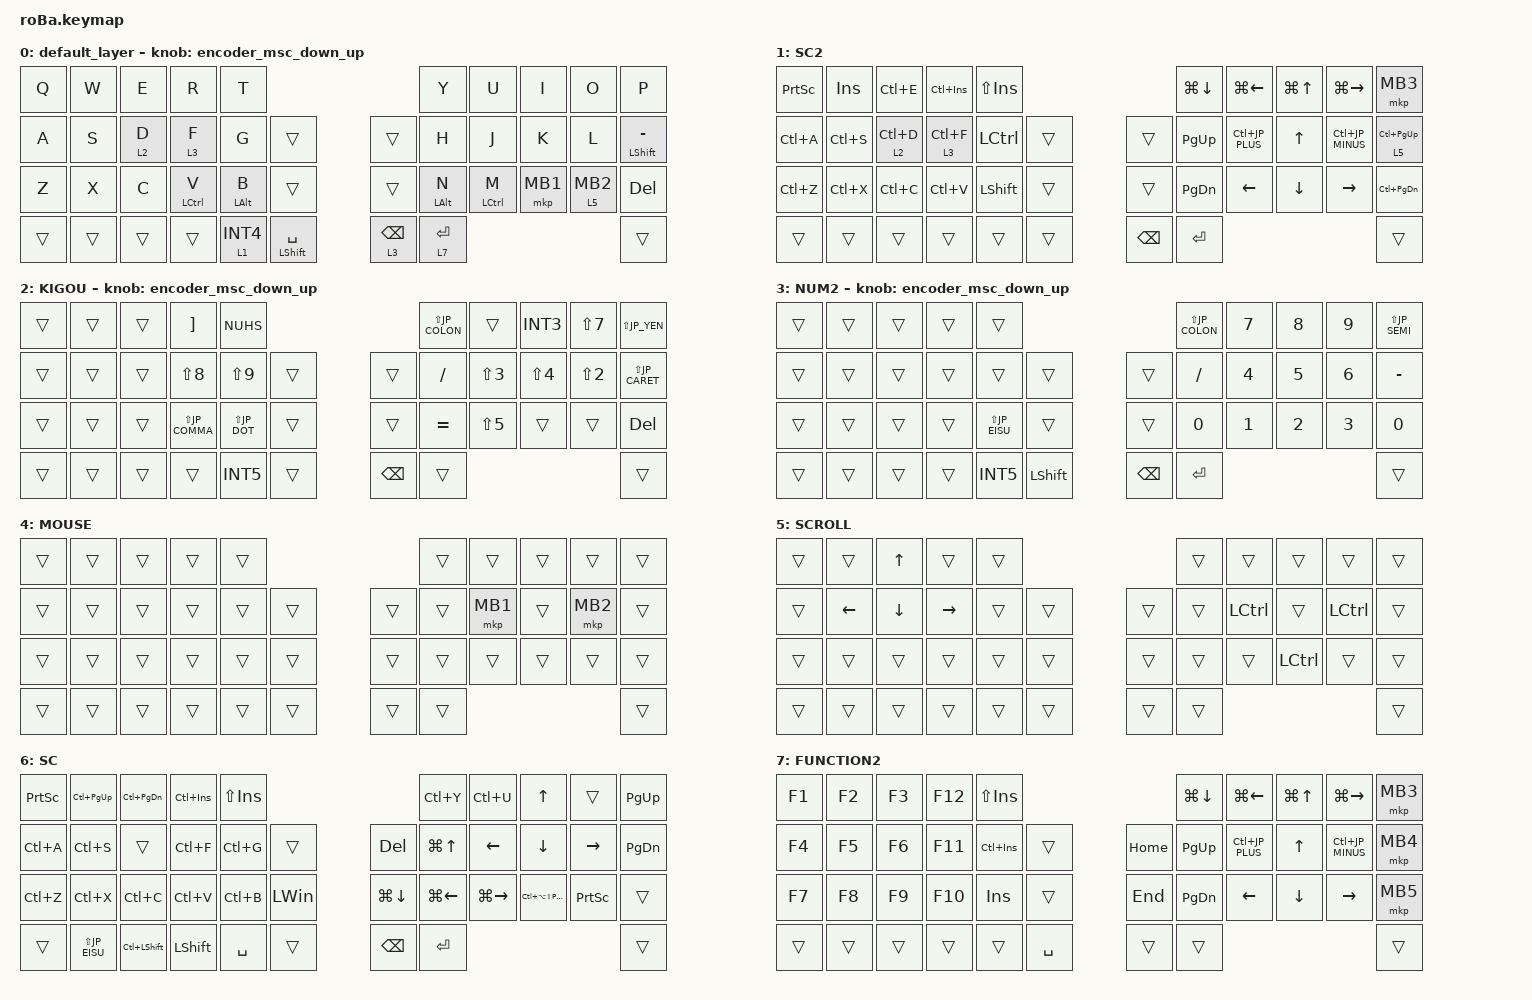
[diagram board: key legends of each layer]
#include <input/processors.dtsi>
#include <behaviors.dtsi>
#include <dt-bindings/zmk/keys.h>
#include <dt-bindings/zmk/pointing.h>

// スクロール量定義

#define ZMK_POINTING_DEFAULT_SCRL_VAL 100

// OS設定を日本語キーボードのまま使用するための変換定義

#define JP_ZKHK  GRAVE        // Zenkaku ↔ Hankaku ↔ Kanji (半角 ↔ 全角 ↔ 漢字)
#define JP_MINUS MINUS        // -
#define JP_CARET EQUAL        // ^
#define JP_YEN   INT3         // ¥
#define JP_AT    LBKT         // @
#define JP_LBKT  RBKT         // [
#define JP_EISU  CAPS         // Eisū (英数)
#define JP_SEMI  SEMI         // ;
#define JP_COLON SQT          // :
#define JP_RBKT  NUHS         // ]
#define JP_COMMA COMMA        // ,
#define JP_DOT   DOT          // .
#define JP_SLASH SLASH        // /
#define JP_BSLH  INT1         // (backslash)
#define JP_MHEN  INT5         // Muhenkan (無変換)
#define JP_HENK  INT4         // Henkan (変換)
#define JP_KANA  INT2         // Katakana ↔ Hiragana ↔ Rōmaji (カタカナ ↔ ひらがな ↔ ローマ字)
#define JP_EXCL  LS(N1)       // !
#define JP_DQT   LS(N2)       // "
#define JP_HASH  LS(N3)       // #
#define JP_DLLR  LS(N4)       // $
#define JP_PRCNT LS(N5)       // %
#define JP_AMPS  LS(N6)       // &
#define JP_SQT   LS(N7)       // '
#define JP_LPAR  LS(N8)       // (
#define JP_RPAR  LS(N9)       // )
#define JP_EQUAL LS(JP_MINUS) // =
#define JP_TILDE LS(JP_CARET) // ~
#define JP_PIPE  LS(JP_YEN)   // |
#define JP_GRAVE LS(JP_AT)    // `
#define JP_LBRC  LS(JP_LBKT)  // {
#define JP_CAPS  LS(JP_EISU)  // Caps Lock
#define JP_PLUS  LS(JP_SEMI)  // +
#define JP_ASTRK LS(JP_COLON) // *
#define JP_RBRC  LS(JP_RBKT)  // }
#define JP_LT    LS(JP_COMMA) // <
#define JP_RT    LS(JP_DOT)   // >
#define JP_QMARK LS(JP_SLASH) // ?
#define JP_UNDER LS(JP_BSLH)  // _

&mt {
    flavor = "balanced";
    quick-tap-ms = <0>;
};

&lt { hold-while-undecided; };

//AML誤爆防止・復帰除外キー設定
//&zip_temp_layer {
//    require-prior-idle-ms = <100>;
//    excluded-positions = <
// 18 // J
// 19  K
// 20 // L
// 21 // 
// 25 // V
//  28 //
//  29 //
//  30 //
//  37 // 左下左
//  38 // 左下中
//  39 // 左下右
//    >;
//};
//トラックボール操作時AML動作定義
//&trackball_listener { input-processors = <&zip_temp_layer 4 30080>; };
//マウスクリック操作時AML動作定義
//&mkp_input_listener { input-processors = <&zip_temp_layer 4 500>; };

&trackball {
    //  automouse-layer = <4>;

    scroll-layers = <5>;

    // arrows {
    //     layers = <3>;
    //     bindings =
    //         <&kp RIGHT_ARROW>,
    //         <&kp LEFT_ARROW>,
    //         <&kp UP_ARROW>,
    //         <&kp DOWN_ARROW>;
    //     tick = <10>;
    //     wait-ms = <5>;
    //     tap-ms = <5>;
    // };
};

/ {
    combos {
        compatible = "zmk,combos";

        tab {
            bindings = <&kp TAB>;
            key-positions = <41 30>;
        };

        F7_ {
            bindings = <&kp F7>;
            key-positions = <38 22>;
            timeout-ms = <30>;
        };

        F8_ {
            bindings = <&kp F8>;
            key-positions = <38 23>;
            timeout-ms = <30>;
        };

        F9_ {
            bindings = <&kp F9>;
            key-positions = <38 24>;
            timeout-ms = <30>;
        };

        F10_ {
            bindings = <&kp F10>;
            key-positions = <38 25>;
            timeout-ms = <30>;
        };

        F6_ {
            bindings = <&kp F6>;
            key-positions = <38 12>;
        };

        F5_ {
            bindings = <&kp F5>;
            key-positions = <38 11>;
        };

        F4_ {
            bindings = <&kp F4>;
            key-positions = <38 10>;
        };

        F3_ {
            bindings = <&kp F3>;
            key-positions = <38 2>;
        };

        F2_ {
            bindings = <&kp F2>;
            key-positions = <38 1>;
        };

        F1_ {
            bindings = <&kp F1>;
            key-positions = <38 0>;
        };

        F11_ {
            bindings = <&kp F11>;
            key-positions = <38 13>;
        };

        F12_ {
            bindings = <&kp F12>;
            key-positions = <38 3>;
        };

        EXCL_ {
            bindings = <&kp JP_EXCL>;
            key-positions = <3 2>;
        };

        QMARK_ {
            bindings = <&kp JP_QMARK>;
            key-positions = <7 6>;
        };

        AT_ {
            bindings = <&kp JP_AT>;
            key-positions = <18 31>;
        };

        COLON_ {
            bindings = <&kp JP_COLON>;
            key-positions = <25 26>;
        };

        SEMI_ {
            bindings = <&kp JP_SEMI>;
            key-positions = <30 29>;
        };

        ESC_ {
            bindings = <&kp ESCAPE>;
            key-positions = <0 1>;
        };

        UNDERBAR_ {
            bindings = <&kp JP_UNDER>;
            key-positions = <20 21>;
        };

        DEL_ {
            bindings = <&kp DELETE>;
            key-positions = <8 9>;
        };

        MB3_ {
            bindings = <&mkp MB3>;
            key-positions = <32 30>;
        };

        AND_ {
            bindings = <&kp JP_AMPS>;
            key-positions = <25 12>;
        };

        MUHENKAN {
            bindings = <&kp JP_MHEN>;
            key-positions = <13 12>;
        };

        COMMA_ {
            bindings = <&kp JP_COMMA>;
            key-positions = <25 24>;
        };

        DOT_ {
            bindings = <&kp JP_DOT>;
            key-positions = <30 31>;
        };

        EQ_ {
            bindings = <&kp JP_EQUAL>;
            key-positions = <30 19>;
        };

        WCLICK_ {
            bindings = <&WCLICK_>;
            key-positions = <31 32>;
        };

        win_2 {
            bindings = <&kp LEFT_GUI>;
            key-positions = <31 41>;
        };

        MB2_2 {
            bindings = <&mkp MB2>;
            key-positions = <32 33>;
        };

        INS_ {
            bindings = <&kp INSERT>;
            key-positions = <3 4>;
        };

        CAPSLOCK_ {
            bindings = <&kp LS(JP_EISU)>;
            key-positions = <24 13>;
        };
    };

    macros {
        to_layer_0: to_layer_0 {
            compatible = "zmk,behavior-macro-one-param";
            #binding-cells = <1>;
            bindings = <&to 0 &macro_param_1to1 &kp MACRO_PLACEHOLDER>;
            label = "TO_LAYER_0";
        };

        kakko1: kakko1 {
            compatible = "zmk,behavior-macro";
            #binding-cells = <0>;
            bindings = <&kp JP_LPAR &kp JP_RPAR &kp LEFT>;
            label = "KAKKO1";
        };

        kakko2: kakko2 {
            compatible = "zmk,behavior-macro";
            #binding-cells = <0>;
            bindings = <&kp JP_LBKT &kp JP_RBKT &kp LEFT_ARROW>;
            label = "KAKKO2";
        };

        kakko3: kakko3 {
            compatible = "zmk,behavior-macro";
            #binding-cells = <0>;
            bindings = <&kp JP_LT &kp JP_RT &kp LEFT_ARROW>;
            label = "KAKKO3";
        };

        kakko11: kakko11 {
            compatible = "zmk,behavior-macro";
            #binding-cells = <0>;
            bindings = <&kp JP_EQUAL &kp JP_LPAR &kp JP_RPAR &kp LEFT &kp LEFT>;
            label = "KAKKO11";
        };

        WCLICK_: WCLICK_ {
            compatible = "zmk,behavior-macro";
            #binding-cells = <0>;
            bindings = <&mkp MB1 &mkp MB1>;
            label = "WCLICK_";
        };

        MHEM_NUM: MHEM_NUM {
            compatible = "zmk,behavior-macro";
            #binding-cells = <0>;
            bindings = <&kp LG(INT_MUHENKAN) &mo 3>;
            label = "MHEM_NUM";
        };

        HEMKAN_NUM_: HEMKAN_NUM_ {
            compatible = "zmk,behavior-macro";
            #binding-cells = <0>;
            bindings = <&kp LG(INT_HENKAN) &mo 3>;
            label = "HEMKAN_NUM_";
        };

        MHEN_KIGOU_: MHEN_KIGOU {
            compatible = "zmk,behavior-macro";
            #binding-cells = <0>;
            bindings = <&kp LG(INT_MUHENKAN) &mo 2>;
            label = "MHEN_KIGOU";
        };

        HENKAN_KIGOU_: HENKAN_KIGOU_ {
            compatible = "zmk,behavior-macro";
            #binding-cells = <0>;
            bindings = <&kp LG(INT_HENKAN) &mo 2>;
            label = "HENKAN_KIGOU_";
        };
    };

    behaviors {
        lt_to_layer_0: lt_to_layer_0 {
            compatible = "zmk,behavior-hold-tap";
            label = "LAYER_TAP_TO_0";
            bindings = <&mo>, <&to_layer_0>;

            #binding-cells = <2>;
            tapping-term-ms = <200>;
        };

        encoder_msc_down_up: encoder_msc_down_up {
            compatible = "zmk,behavior-sensor-rotate";
            label = "ENCODER_MSC_DOWN_UP";
            #sensor-binding-cells = <0>;
            bindings = <&msc SCRL_DOWN>, <&msc SCRL_UP>;

            tap-ms = <20>;
        };

        TAPDANCE1: TAPDANCE1 {
            compatible = "zmk,behavior-tap-dance";
            label = "TAPDANCE1";
            #binding-cells = <0>;
            bindings = <&lt 1 JP_HENK>, <&mt LEFT_SHIFT JP_MHEN>;
        };

        mkpmo: mkpmo {
            compatible = "zmk,behavior-hold-tap";
            label = "MKPMO";
            bindings = <&mo>, <&mkp>;

            #binding-cells = <2>;
            tapping-term-ms = <200>;
            hold-while-undecided;
        };
    };

    keymap {
        compatible = "zmk,keymap";

        default_layer {
            bindings = <
&kp Q   &kp W   &kp E    &kp R        &kp T                                                      &kp Y           &kp U             &kp I     &kp O         &kp P
&kp A   &kp S   &lt 2 D  &lt 3 F      &kp G           &trans                    &trans           &kp H           &kp J             &kp K     &kp L         &mt LEFT_SHIFT JP_MINUS
&kp Z   &kp X   &kp C    &mt LCTRL V  &mt LEFT_ALT B  &trans                    &trans           &mt LEFT_ALT N  &mt LCTRL M  &mkp MB1  &mkpmo 5 MB2       &kp DELETE
&trans  &trans  &trans   &trans       &lt 1 JP_HENK   &mt LEFT_SHIFT SPACE      &lt 3 BACKSPACE  &lt 7 ENTER                                          &trans
            >;

            sensor-bindings = <&encoder_msc_down_up>;
        };

        SC2 {
            bindings = <
&kp PRINTSCREEN  &kp INSERT  &kp LC(E)    &kp LC(INSERT)  &kp LS(INSERT)                             &kp LG(DOWN_ARROW)  &kp LG(LEFT_ARROW)  &kp LG(UP_ARROW)  &kp LG(RIGHT_ARROW)  &mkp MB3
&kp LC(A)        &kp LC(S)   &lt 2 LC(D)  &lt 3 LC(F)     &kp LCTRL       &trans      &trans         &kp PAGE_UP         &kp LC(JP_PLUS)     &kp UP_ARROW      &kp LC(JP_MINUS)     &lt 5 LC(PAGE_UP)
&kp LC(Z)        &kp LC(X)   &kp LC(C)    &kp LC(V)       &kp LSHIFT      &trans      &trans         &kp PAGE_DOWN       &kp LEFT_ARROW      &kp DOWN_ARROW    &kp RIGHT_ARROW      &kp LC(PAGE_DOWN)
&trans           &trans      &trans       &trans          &trans          &trans      &kp BACKSPACE  &kp ENTER                                                                      &trans
            >;
        };

        KIGOU {
            bindings = <
&trans  &trans  &trans  &kp JP_LBKT  &kp JP_RBKT                             &kp JP_ASTRK  &trans        &kp JP_YEN   &kp JP_SQT  &kp JP_PIPE
&trans  &trans  &trans  &kp JP_LPAR  &kp JP_RPAR  &trans      &trans         &kp JP_SLASH  &kp JP_HASH   &kp JP_DLLR  &kp JP_DQT  &kp JP_TILDE
&trans  &trans  &trans  &kp JP_LT    &kp JP_RT    &trans      &trans         &kp JP_CARET  &kp JP_PRCNT  &trans       &trans      &kp DELETE
&trans  &trans  &trans  &trans       &kp JP_MHEN  &trans      &kp BACKSPACE  &trans                                               &trans
            >;

            sensor-bindings = <&encoder_msc_down_up>;
        };

        NUM2 {
            bindings = <
&trans  &trans  &trans  &trans  &trans                                              &kp JP_ASTRK  &kp N7  &kp N8  &kp N9  &kp JP_PLUS
&trans  &trans  &trans  &trans  &trans           &trans              &trans         &kp JP_SLASH  &kp N4  &kp N5  &kp N6  &kp JP_MINUS
&trans  &trans  &trans  &trans  &kp LS(JP_EISU)  &trans              &trans         &kp N0        &kp N1  &kp N2  &kp N3  &kp N0
&trans  &trans  &trans  &trans  &kp JP_MHEN      &kp LEFT_SHIFT      &kp BACKSPACE  &kp ENTER                             &trans
            >;

            sensor-bindings = <&encoder_msc_down_up>;
        };

        MOUSE {
            bindings = <
&trans  &trans  &trans  &trans  &trans                      &trans  &trans    &trans  &trans    &trans
&trans  &trans  &trans  &trans  &trans  &trans      &trans  &trans  &mkp MB1  &trans  &mkp MB2  &trans
&trans  &trans  &trans  &trans  &trans  &trans      &trans  &trans  &trans    &trans  &trans    &trans
&trans  &trans  &trans  &trans  &trans  &trans      &trans  &trans                              &trans
            >;
        };

        SCROLL {
            bindings = <
&trans  &trans          &kp UP_ARROW    &trans           &trans                      &trans  &trans            &trans            &trans            &trans
&trans  &kp LEFT_ARROW  &kp DOWN_ARROW  &kp RIGHT_ARROW  &trans  &trans      &trans  &trans  &kp LEFT_CONTROL  &trans            &kp LEFT_CONTROL  &trans
&trans  &trans          &trans          &trans           &trans  &trans      &trans  &trans  &trans            &kp LEFT_CONTROL  &trans            &trans
&trans  &trans          &trans          &trans           &trans  &trans      &trans  &trans                                                        &trans
            >;
        };

        SC {
            bindings = <
&kp PRINTSCREEN  &kp LC(PAGE_UP)  &kp LC(PAGE_DOWN)  &kp LC(INSERT)  &kp LS(INSERT)                                        &kp LC(Y)           &kp LC(U)            &kp UP_ARROW                 &trans           &kp PAGE_UP
&kp LC(A)        &kp LC(S)        &trans             &kp LC(F)       &kp LC(G)       &trans            &kp DELETE          &kp LG(UP_ARROW)    &kp LEFT_ARROW       &kp DOWN_ARROW               &kp RIGHT_ARROW  &kp PAGE_DOWN
&kp LC(Z)        &kp LC(X)        &kp LC(C)          &kp LC(V)       &kp LC(B)       &kp LEFT_WIN      &kp LG(DOWN_ARROW)  &kp LG(LEFT_ARROW)  &kp LG(RIGHT_ARROW)  &kp LC(LA(LS(PRINTSCREEN)))  &kp PRINTSCREEN  &trans
&trans           &kp LS(JP_EISU)  &kp LC(LSHIFT)     &kp LSHIFT      &kp SPACE       &trans            &kp BACKSPACE       &kp ENTER                                                                              &trans
            >;
        };

        FUNCTION2 {
            bindings = <
&kp F1  &kp F2  &kp F3  &kp F12  &kp LS(INSERT)                           &kp LG(DOWN_ARROW)  &kp LG(LEFT_ARROW)  &kp LG(UP_ARROW)  &kp LG(RIGHT_ARROW)  &mkp MB3
&kp F4  &kp F5  &kp F6  &kp F11  &kp LC(INSERT)  &trans         &kp HOME  &kp PAGE_UP         &kp LC(JP_PLUS)     &kp UP_ARROW      &kp LC(JP_MINUS)     &mkp MB4
&kp F7  &kp F8  &kp F9  &kp F10  &kp INSERT      &trans         &kp END   &kp PAGE_DOWN       &kp LEFT_ARROW      &kp DOWN_ARROW    &kp RIGHT_ARROW      &mkp MB5
&trans  &trans  &trans  &trans   &trans          &kp SPACE      &trans    &trans                                                                         &trans
            >;
        };
    };
};



#include <input/processors.dtsi>
#include <behaviors.dtsi>
#include <dt-bindings/zmk/keys.h>
#include <dt-bindings/zmk/pointing.h>

// スクロール量定義

#define ZMK_POINTING_DEFAULT_SCRL_VAL 100

// OS設定を日本語キーボードのまま使用するための変換定義

#define JP_ZKHK  GRAVE        // Zenkaku ↔ Hankaku ↔ Kanji (半角 ↔ 全角 ↔ 漢字)
#define JP_MINUS MINUS        // -
#define JP_CARET EQUAL        // ^
#define JP_YEN   INT3         // ¥
#define JP_AT    LBKT         // @
#define JP_LBKT  RBKT         // [
#define JP_EISU  CAPS         // Eisū (英数)
#define JP_SEMI  SEMI         // ;
#define JP_COLON SQT          // :
#define JP_RBKT  NUHS         // ]
#define JP_COMMA COMMA        // ,
#define JP_DOT   DOT          // .
#define JP_SLASH SLASH        // /
#define JP_BSLH  INT1         // (backslash)
#define JP_MHEN  INT5         // Muhenkan (無変換)
#define JP_HENK  INT4         // Henkan (変換)
#define JP_KANA  INT2         // Katakana ↔ Hiragana ↔ Rōmaji (カタカナ ↔ ひらがな ↔ ローマ字)
#define JP_EXCL  LS(N1)       // !
#define JP_DQT   LS(N2)       // "
#define JP_HASH  LS(N3)       // #
#define JP_DLLR  LS(N4)       // $
#define JP_PRCNT LS(N5)       // %
#define JP_AMPS  LS(N6)       // &
#define JP_SQT   LS(N7)       // '
#define JP_LPAR  LS(N8)       // (
#define JP_RPAR  LS(N9)       // )
#define JP_EQUAL LS(JP_MINUS) // =
#define JP_TILDE LS(JP_CARET) // ~
#define JP_PIPE  LS(JP_YEN)   // |
#define JP_GRAVE LS(JP_AT)    // `
#define JP_LBRC  LS(JP_LBKT)  // {
#define JP_CAPS  LS(JP_EISU)  // Caps Lock
#define JP_PLUS  LS(JP_SEMI)  // +
#define JP_ASTRK LS(JP_COLON) // *
#define JP_RBRC  LS(JP_RBKT)  // }
#define JP_LT    LS(JP_COMMA) // <
#define JP_RT    LS(JP_DOT)   // >
#define JP_QMARK LS(JP_SLASH) // ?
#define JP_UNDER LS(JP_BSLH)  // _

&mt {
    flavor = "balanced";
    quick-tap-ms = <0>;
};

&lt { hold-while-undecided; };

//AML誤爆防止・復帰除外キー設定
//&zip_temp_layer {
//    require-prior-idle-ms = <100>;
//    excluded-positions = <
// 18 // J
// 19  K
// 20 // L
// 21 // 
// 25 // V
//  28 //
//  29 //
//  30 //
//  37 // 左下左
//  38 // 左下中
//  39 // 左下右
//    >;
//};
//トラックボール操作時AML動作定義
//&trackball_listener { input-processors = <&zip_temp_layer 4 30080>; };
//マウスクリック操作時AML動作定義
//&mkp_input_listener { input-processors = <&zip_temp_layer 4 500>; };

&trackball {
    //  automouse-layer = <4>;

    scroll-layers = <5>;

    // arrows {
    //     layers = <3>;
    //     bindings =
    //         <&kp RIGHT_ARROW>,
    //         <&kp LEFT_ARROW>,
    //         <&kp UP_ARROW>,
    //         <&kp DOWN_ARROW>;
    //     tick = <10>;
    //     wait-ms = <5>;
    //     tap-ms = <5>;
    // };
};

/ {
    combos {
        compatible = "zmk,combos";

        tab {
            bindings = <&kp TAB>;
            key-positions = <41 30>;
        };

        F7_ {
            bindings = <&kp F7>;
            key-positions = <38 22>;
            timeout-ms = <30>;
        };

        F8_ {
            bindings = <&kp F8>;
            key-positions = <38 23>;
            timeout-ms = <30>;
        };

        F9_ {
            bindings = <&kp F9>;
            key-positions = <38 24>;
            timeout-ms = <30>;
        };

        F10_ {
            bindings = <&kp F10>;
            key-positions = <38 25>;
            timeout-ms = <30>;
        };

        F6_ {
            bindings = <&kp F6>;
            key-positions = <38 12>;
        };

        F5_ {
            bindings = <&kp F5>;
            key-positions = <38 11>;
        };

        F4_ {
            bindings = <&kp F4>;
            key-positions = <38 10>;
        };

        F3_ {
            bindings = <&kp F3>;
            key-positions = <38 2>;
        };

        F2_ {
            bindings = <&kp F2>;
            key-positions = <38 1>;
        };

        F1_ {
            bindings = <&kp F1>;
            key-positions = <38 0>;
        };

        F11_ {
            bindings = <&kp F11>;
            key-positions = <38 13>;
        };

        F12_ {
            bindings = <&kp F12>;
            key-positions = <38 3>;
        };

        EXCL_ {
            bindings = <&kp JP_EXCL>;
            key-positions = <3 2>;
        };

        QMARK_ {
            bindings = <&kp JP_QMARK>;
            key-positions = <7 6>;
        };

        AT_ {
            bindings = <&kp JP_AT>;
            key-positions = <18 31>;
        };

        COLON_ {
            bindings = <&kp JP_COLON>;
            key-positions = <25 26>;
        };

        SEMI_ {
            bindings = <&kp JP_SEMI>;
            key-positions = <30 29>;
        };

        ESC_ {
            bindings = <&kp ESCAPE>;
            key-positions = <0 1>;
        };

        UNDERBAR_ {
            bindings = <&kp JP_UNDER>;
            key-positions = <20 21>;
        };

        DEL_ {
            bindings = <&kp DELETE>;
            key-positions = <8 9>;
        };

        MB3_ {
            bindings = <&mkp MB3>;
            key-positions = <32 30>;
        };

        AND_ {
            bindings = <&kp JP_AMPS>;
            key-positions = <25 12>;
        };

        MUHENKAN {
            bindings = <&kp JP_MHEN>;
            key-positions = <13 12>;
        };

        COMMA_ {
            bindings = <&kp JP_COMMA>;
            key-positions = <25 24>;
        };

        DOT_ {
            bindings = <&kp JP_DOT>;
            key-positions = <30 31>;
        };

        EQ_ {
            bindings = <&kp JP_EQUAL>;
            key-positions = <30 19>;
        };

        WCLICK_ {
            bindings = <&WCLICK_>;
            key-positions = <31 32>;
        };

        INS_ {
            bindings = <&kp INSERT>;
            key-positions = <3 4>;
        };

        win {
            bindings = <&kp LEFT_GUI>;
            key-positions = <32 33>;
        };
    };

    macros {
        to_layer_0: to_layer_0 {
            compatible = "zmk,behavior-macro-one-param";
            #binding-cells = <1>;
            bindings = <&to 0 &macro_param_1to1 &kp MACRO_PLACEHOLDER>;
            label = "TO_LAYER_0";
        };

        kakko1: kakko1 {
            compatible = "zmk,behavior-macro";
            #binding-cells = <0>;
            bindings = <&kp JP_LPAR &kp JP_RPAR &kp LEFT>;
            label = "KAKKO1";
        };

        kakko2: kakko2 {
            compatible = "zmk,behavior-macro";
            #binding-cells = <0>;
            bindings = <&kp JP_LBKT &kp JP_RBKT &kp LEFT_ARROW>;
            label = "KAKKO2";
        };

        kakko3: kakko3 {
            compatible = "zmk,behavior-macro";
            #binding-cells = <0>;
            bindings = <&kp JP_LT &kp JP_RT &kp LEFT_ARROW>;
            label = "KAKKO3";
        };

        kakko11: kakko11 {
            compatible = "zmk,behavior-macro";
            #binding-cells = <0>;
            bindings = <&kp JP_EQUAL &kp JP_LPAR &kp JP_RPAR &kp LEFT &kp LEFT>;
            label = "KAKKO11";
        };

        WCLICK_: WCLICK_ {
            compatible = "zmk,behavior-macro";
            #binding-cells = <0>;
            bindings = <&mkp MB1 &mkp MB1>;
            label = "WCLICK_";
        };

        MHEM_NUM: MHEM_NUM {
            compatible = "zmk,behavior-macro";
            #binding-cells = <0>;
            bindings = <&kp LG(INT_MUHENKAN) &mo 3>;
            label = "MHEM_NUM";
        };

        HEMKAN_NUM_: HEMKAN_NUM_ {
            compatible = "zmk,behavior-macro";
            #binding-cells = <0>;
            bindings = <&kp LG(INT_HENKAN) &mo 3>;
            label = "HEMKAN_NUM_";
        };

        MHEN_KIGOU_: MHEN_KIGOU {
            compatible = "zmk,behavior-macro";
            #binding-cells = <0>;
            bindings = <&kp LG(INT_MUHENKAN) &mo 2>;
            label = "MHEN_KIGOU";
        };

        HENKAN_KIGOU_: HENKAN_KIGOU_ {
            compatible = "zmk,behavior-macro";
            #binding-cells = <0>;
            bindings = <&kp LG(INT_HENKAN) &mo 2>;
            label = "HENKAN_KIGOU_";
        };
    };

    behaviors {
        lt_to_layer_0: lt_to_layer_0 {
            compatible = "zmk,behavior-hold-tap";
            label = "LAYER_TAP_TO_0";
            bindings = <&mo>, <&to_layer_0>;

            #binding-cells = <2>;
            tapping-term-ms = <200>;
        };

        encoder_msc_down_up: encoder_msc_down_up {
            compatible = "zmk,behavior-sensor-rotate";
            label = "ENCODER_MSC_DOWN_UP";
            #sensor-binding-cells = <0>;
            bindings = <&msc SCRL_DOWN>, <&msc SCRL_UP>;

            tap-ms = <20>;
        };

        TAPDANCE1: TAPDANCE1 {
            compatible = "zmk,behavior-tap-dance";
            label = "TAPDANCE1";
            #binding-cells = <0>;
            bindings = <&lt 1 JP_HENK>, <&mt LEFT_SHIFT JP_MHEN>;
        };

        mkpmo: mkpmo {
            compatible = "zmk,behavior-hold-tap";
            label = "MKPMO";
            bindings = <&mo>, <&mkp>;

            #binding-cells = <2>;
            tapping-term-ms = <200>;
            hold-while-undecided;
        };
    };

    keymap {
        compatible = "zmk,keymap";

        default_layer {
            bindings = <
&kp Q   &kp W   &kp E    &kp R        &kp T                                                      &kp Y           &kp U        &kp I     &kp O         &kp P
&kp A   &kp S   &lt 2 D  &lt 3 F      &kp G           &trans                    &trans           &kp H           &kp J        &kp K     &kp L         &mt LEFT_SHIFT JP_MINUS
&kp Z   &kp X   &kp C    &mt LCTRL V  &mt LEFT_ALT B  &trans                    &trans           &mt LEFT_ALT N  &mt LCTRL M  &mkp MB1  &mkpmo 5 MB2  &kp DELETE
&trans  &trans  &trans   &trans       &lt 1 JP_HENK   &mt LEFT_SHIFT SPACE      &lt 3 BACKSPACE  &lt 7 ENTER                                          &trans
            >;

            sensor-bindings = <&encoder_msc_down_up>;
        };

        SC2 {
            bindings = <
&kp PRINTSCREEN  &kp INSERT  &kp LC(E)    &kp LC(INSERT)  &kp LS(INSERT)                             &kp LG(DOWN_ARROW)  &kp LG(LEFT_ARROW)  &kp LG(UP_ARROW)  &kp LG(RIGHT_ARROW)  &mkp MB3
&kp LC(A)        &kp LC(S)   &lt 2 LC(D)  &lt 3 LC(F)     &kp LCTRL       &trans      &trans         &kp PAGE_UP         &kp LC(JP_PLUS)     &kp UP_ARROW      &kp LC(JP_MINUS)     &lt 5 LC(PAGE_UP)
&kp LC(Z)        &kp LC(X)   &kp LC(C)    &kp LC(V)       &kp LSHIFT      &trans      &trans         &kp PAGE_DOWN       &kp LEFT_ARROW      &kp DOWN_ARROW    &kp RIGHT_ARROW      &kp LC(PAGE_DOWN)
&trans           &trans      &trans       &trans          &trans          &trans      &kp BACKSPACE  &kp ENTER                                                                      &trans
            >;
        };

        KIGOU {
            bindings = <
&trans  &trans  &trans  &kp JP_LBKT  &kp JP_RBKT                             &kp JP_ASTRK  &trans        &kp JP_YEN   &kp JP_SQT  &kp JP_PIPE
&trans  &trans  &trans  &kp JP_LPAR  &kp JP_RPAR  &trans      &trans         &kp JP_SLASH  &kp JP_HASH   &kp JP_DLLR  &kp JP_DQT  &kp JP_TILDE
&trans  &trans  &trans  &kp JP_LT    &kp JP_RT    &trans      &trans         &kp JP_CARET  &kp JP_PRCNT  &trans       &trans      &kp DELETE
&trans  &trans  &trans  &trans       &kp JP_MHEN  &trans      &kp BACKSPACE  &trans                                               &trans
            >;

            sensor-bindings = <&encoder_msc_down_up>;
        };

        NUM2 {
            bindings = <
&trans  &trans  &trans  &trans  &trans                                              &kp JP_ASTRK  &kp N7  &kp N8  &kp N9  &kp JP_PLUS
&trans  &trans  &trans  &trans  &trans           &trans              &trans         &kp JP_SLASH  &kp N4  &kp N5  &kp N6  &kp JP_MINUS
&trans  &trans  &trans  &trans  &kp LS(JP_EISU)  &trans              &trans         &kp N0        &kp N1  &kp N2  &kp N3  &kp N0
&trans  &trans  &trans  &trans  &kp JP_MHEN      &kp LEFT_SHIFT      &kp BACKSPACE  &kp ENTER                             &trans
            >;

            sensor-bindings = <&encoder_msc_down_up>;
        };

        MOUSE {
            bindings = <
&trans  &trans  &trans  &trans  &trans                      &trans  &trans    &trans  &trans    &trans
&trans  &trans  &trans  &trans  &trans  &trans      &trans  &trans  &mkp MB1  &trans  &mkp MB2  &trans
&trans  &trans  &trans  &trans  &trans  &trans      &trans  &trans  &trans    &trans  &trans    &trans
&trans  &trans  &trans  &trans  &trans  &trans      &trans  &trans                              &trans
            >;
        };

        SCROLL {
            bindings = <
&trans  &trans          &kp UP_ARROW    &trans           &trans                      &trans  &trans            &trans            &trans            &trans
&trans  &kp LEFT_ARROW  &kp DOWN_ARROW  &kp RIGHT_ARROW  &trans  &trans      &trans  &trans  &kp LEFT_CONTROL  &trans            &kp LEFT_CONTROL  &trans
&trans  &trans          &trans          &trans           &trans  &trans      &trans  &trans  &trans            &kp LEFT_CONTROL  &trans            &trans
&trans  &trans          &trans          &trans           &trans  &trans      &trans  &trans                                                        &trans
            >;
        };

        SC {
            bindings = <
&kp PRINTSCREEN  &kp LC(PAGE_UP)  &kp LC(PAGE_DOWN)  &kp LC(INSERT)  &kp LS(INSERT)                                        &kp LC(Y)           &kp LC(U)            &kp UP_ARROW                 &trans           &kp PAGE_UP
&kp LC(A)        &kp LC(S)        &trans             &kp LC(F)       &kp LC(G)       &trans            &kp DELETE          &kp LG(UP_ARROW)    &kp LEFT_ARROW       &kp DOWN_ARROW               &kp RIGHT_ARROW  &kp PAGE_DOWN
&kp LC(Z)        &kp LC(X)        &kp LC(C)          &kp LC(V)       &kp LC(B)       &kp LEFT_WIN      &kp LG(DOWN_ARROW)  &kp LG(LEFT_ARROW)  &kp LG(RIGHT_ARROW)  &kp LC(LA(LS(PRINTSCREEN)))  &kp PRINTSCREEN  &trans
&trans           &kp LS(JP_EISU)  &kp LC(LSHIFT)     &kp LSHIFT      &kp SPACE       &trans            &kp BACKSPACE       &kp ENTER                                                                              &trans
            >;
        };

        FUNCTION2 {
            bindings = <
&kp F1  &kp F2  &kp F3  &kp F12  &kp LS(INSERT)                           &kp LG(DOWN_ARROW)  &kp LG(LEFT_ARROW)  &kp LG(UP_ARROW)  &kp LG(RIGHT_ARROW)  &mkp MB3
&kp F4  &kp F5  &kp F6  &kp F11  &kp LC(INSERT)  &trans         &kp HOME  &kp PAGE_UP         &kp LC(JP_PLUS)     &kp UP_ARROW      &kp LC(JP_MINUS)     &mkp MB4
&kp F7  &kp F8  &kp F9  &kp F10  &kp INSERT      &trans         &kp END   &kp PAGE_DOWN       &kp LEFT_ARROW      &kp DOWN_ARROW    &kp RIGHT_ARROW      &mkp MB5
&trans  &trans  &trans  &trans   &trans          &kp SPACE      &trans    &trans                                                                         &trans
            >;
        };
    };
};
